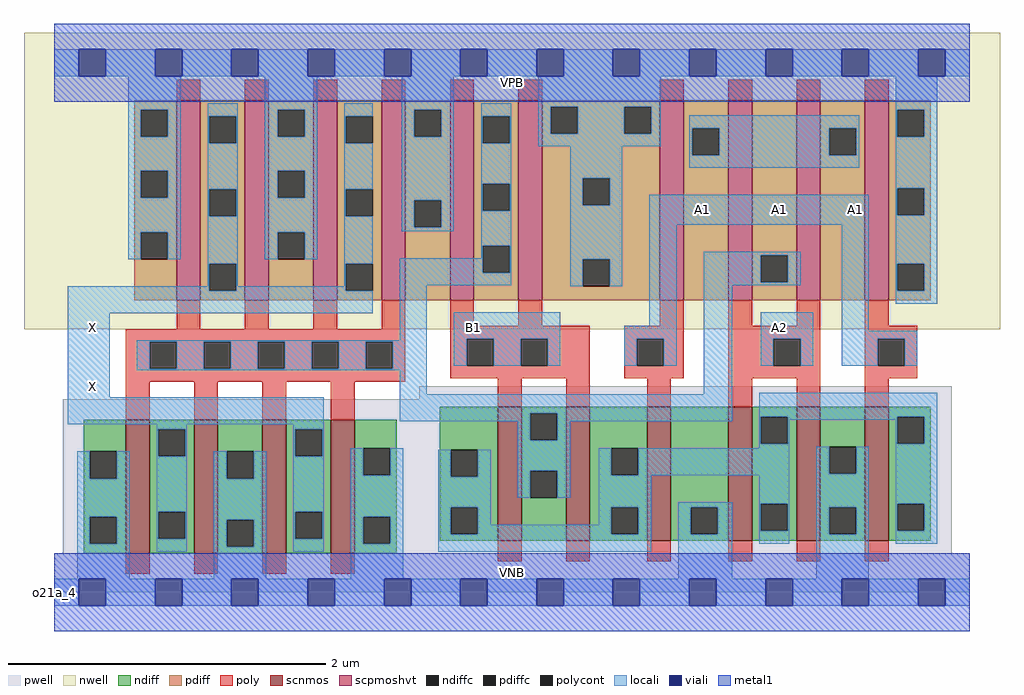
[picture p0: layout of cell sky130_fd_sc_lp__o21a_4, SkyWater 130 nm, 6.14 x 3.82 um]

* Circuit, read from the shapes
.subckt sky130_fd_sc_lp__o21a_4 A1 A2 B1 VGND VNB VPB VPWR X
XM1 X n1 VGND VNB sky130_fd_pr__nfet_01v8 w=0.84 l=0.15 m=4
XM2 n1 B1 n2 VNB sky130_fd_pr__nfet_01v8 w=0.84 l=0.15 m=2
XM3 VGND A1 n2 VNB sky130_fd_pr__nfet_01v8 w=0.84 l=0.15 m=2
XM4 n2 A2 VGND VNB sky130_fd_pr__nfet_01v8 w=0.84 l=0.15 m=2
XM5 X n1 VPWR VPB sky130_fd_pr__pfet_01v8_hvt w=1.26 l=0.15 m=4
XM6 n1 B1 VPWR VPB sky130_fd_pr__pfet_01v8_hvt w=1.26 l=0.15 m=2
XM7 n3 A1 VPWR VPB sky130_fd_pr__pfet_01v8_hvt w=1.26 l=0.15 m=2
XM8 n1 A2 n3 VPB sky130_fd_pr__pfet_01v8_hvt w=1.26 l=0.15 m=2
.ends

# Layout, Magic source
magic
tech sky130A
magscale 1 2
<< nwell >>
rect -38 331 1190 704
<< pwell >>
rect 459 243 1129 259
rect 11 49 1129 243
rect 0 0 1152 49
<< scnmos >>
rect 90 49 120 217
rect 176 49 206 217
rect 262 49 292 217
rect 348 49 378 217
rect 558 65 588 233
rect 644 65 674 233
rect 746 65 776 233
rect 848 65 878 233
rect 934 65 964 233
rect 1020 65 1050 233
<< scpmoshvt >>
rect 154 367 184 619
rect 240 367 270 619
rect 326 367 356 619
rect 412 367 442 619
rect 498 367 528 619
rect 584 367 614 619
rect 762 367 792 619
rect 848 367 878 619
rect 934 367 964 619
rect 1020 367 1050 619
<< ndiff >>
rect 37 177 90 217
rect 37 143 45 177
rect 79 143 90 177
rect 37 95 90 143
rect 37 61 45 95
rect 79 61 90 95
rect 37 49 90 61
rect 120 205 176 217
rect 120 171 131 205
rect 165 171 176 205
rect 120 101 176 171
rect 120 67 131 101
rect 165 67 176 101
rect 120 49 176 67
rect 206 177 262 217
rect 206 143 217 177
rect 251 143 262 177
rect 206 91 262 143
rect 206 57 217 91
rect 251 57 262 91
rect 206 49 262 57
rect 292 205 348 217
rect 292 171 303 205
rect 337 171 348 205
rect 292 101 348 171
rect 292 67 303 101
rect 337 67 348 101
rect 292 49 348 67
rect 378 181 431 217
rect 378 147 389 181
rect 423 147 431 181
rect 378 95 431 147
rect 378 61 389 95
rect 423 61 431 95
rect 485 179 558 233
rect 485 145 499 179
rect 533 145 558 179
rect 485 107 558 145
rect 485 73 499 107
rect 533 73 558 107
rect 485 65 558 73
rect 588 225 644 233
rect 588 191 599 225
rect 633 191 644 225
rect 588 153 644 191
rect 588 119 599 153
rect 633 119 644 153
rect 588 65 644 119
rect 674 181 746 233
rect 674 147 701 181
rect 735 147 746 181
rect 674 107 746 147
rect 674 73 701 107
rect 735 73 746 107
rect 674 65 746 73
rect 776 107 848 233
rect 776 73 801 107
rect 835 73 848 107
rect 776 65 848 73
rect 878 221 934 233
rect 878 187 889 221
rect 923 187 934 221
rect 878 111 934 187
rect 878 77 889 111
rect 923 77 934 111
rect 878 65 934 77
rect 964 183 1020 233
rect 964 149 975 183
rect 1009 149 1020 183
rect 964 107 1020 149
rect 964 73 975 107
rect 1009 73 1020 107
rect 964 65 1020 73
rect 1050 221 1103 233
rect 1050 187 1061 221
rect 1095 187 1103 221
rect 1050 111 1103 187
rect 1050 77 1061 111
rect 1095 77 1103 111
rect 1050 65 1103 77
rect 378 49 431 61
<< pdiff >>
rect 101 607 154 619
rect 101 573 109 607
rect 143 573 154 607
rect 101 530 154 573
rect 101 496 109 530
rect 143 496 154 530
rect 101 453 154 496
rect 101 419 109 453
rect 143 419 154 453
rect 101 367 154 419
rect 184 599 240 619
rect 184 565 195 599
rect 229 565 240 599
rect 184 507 240 565
rect 184 473 195 507
rect 229 473 240 507
rect 184 413 240 473
rect 184 379 195 413
rect 229 379 240 413
rect 184 367 240 379
rect 270 607 326 619
rect 270 573 281 607
rect 315 573 326 607
rect 270 530 326 573
rect 270 496 281 530
rect 315 496 326 530
rect 270 453 326 496
rect 270 419 281 453
rect 315 419 326 453
rect 270 367 326 419
rect 356 599 412 619
rect 356 565 367 599
rect 401 565 412 599
rect 356 507 412 565
rect 356 473 367 507
rect 401 473 412 507
rect 356 413 412 473
rect 356 379 367 413
rect 401 379 412 413
rect 356 367 412 379
rect 442 607 498 619
rect 442 573 453 607
rect 487 573 498 607
rect 442 493 498 573
rect 442 459 453 493
rect 487 459 498 493
rect 442 367 498 459
rect 528 599 584 619
rect 528 565 539 599
rect 573 565 584 599
rect 528 514 584 565
rect 528 480 539 514
rect 573 480 584 514
rect 528 436 584 480
rect 528 402 539 436
rect 573 402 584 436
rect 528 367 584 402
rect 614 611 762 619
rect 614 577 625 611
rect 659 577 717 611
rect 751 577 762 611
rect 614 521 762 577
rect 614 487 665 521
rect 699 487 762 521
rect 614 419 762 487
rect 614 385 665 419
rect 699 385 762 419
rect 614 367 762 385
rect 792 584 848 619
rect 792 550 803 584
rect 837 550 848 584
rect 792 367 848 550
rect 878 424 934 619
rect 878 390 889 424
rect 923 390 934 424
rect 878 367 934 390
rect 964 584 1020 619
rect 964 550 975 584
rect 1009 550 1020 584
rect 964 367 1020 550
rect 1050 607 1103 619
rect 1050 573 1061 607
rect 1095 573 1103 607
rect 1050 508 1103 573
rect 1050 474 1061 508
rect 1095 474 1103 508
rect 1050 413 1103 474
rect 1050 379 1061 413
rect 1095 379 1103 413
rect 1050 367 1103 379
<< ndiffc >>
rect 45 143 79 177
rect 45 61 79 95
rect 131 171 165 205
rect 131 67 165 101
rect 217 143 251 177
rect 217 57 251 91
rect 303 171 337 205
rect 303 67 337 101
rect 389 147 423 181
rect 389 61 423 95
rect 499 145 533 179
rect 499 73 533 107
rect 599 191 633 225
rect 599 119 633 153
rect 701 147 735 181
rect 701 73 735 107
rect 801 73 835 107
rect 889 187 923 221
rect 889 77 923 111
rect 975 149 1009 183
rect 975 73 1009 107
rect 1061 187 1095 221
rect 1061 77 1095 111
<< pdiffc >>
rect 109 573 143 607
rect 109 496 143 530
rect 109 419 143 453
rect 195 565 229 599
rect 195 473 229 507
rect 195 379 229 413
rect 281 573 315 607
rect 281 496 315 530
rect 281 419 315 453
rect 367 565 401 599
rect 367 473 401 507
rect 367 379 401 413
rect 453 573 487 607
rect 453 459 487 493
rect 539 565 573 599
rect 539 480 573 514
rect 539 402 573 436
rect 625 577 659 611
rect 717 577 751 611
rect 665 487 699 521
rect 665 385 699 419
rect 803 550 837 584
rect 889 390 923 424
rect 975 550 1009 584
rect 1061 573 1095 607
rect 1061 474 1095 508
rect 1061 379 1095 413
<< poly >>
rect 154 619 184 645
rect 240 619 270 645
rect 326 619 356 645
rect 412 619 442 645
rect 498 619 528 645
rect 584 619 614 645
rect 762 619 792 645
rect 848 619 878 645
rect 934 619 964 645
rect 1020 619 1050 645
rect 154 331 184 367
rect 240 331 270 367
rect 326 331 356 367
rect 412 331 442 367
rect 90 315 442 331
rect 90 281 120 315
rect 154 281 188 315
rect 222 281 256 315
rect 290 281 324 315
rect 358 281 392 315
rect 426 281 442 315
rect 90 265 442 281
rect 498 335 528 367
rect 584 335 614 367
rect 762 335 792 367
rect 498 319 674 335
rect 498 285 519 319
rect 553 285 587 319
rect 621 285 674 319
rect 498 269 674 285
rect 717 319 792 335
rect 717 285 733 319
rect 767 285 792 319
rect 717 269 792 285
rect 848 335 878 367
rect 934 335 964 367
rect 848 319 964 335
rect 848 285 905 319
rect 939 285 964 319
rect 848 269 964 285
rect 90 217 120 265
rect 176 217 206 265
rect 262 217 292 265
rect 348 217 378 265
rect 558 233 588 269
rect 644 233 674 269
rect 746 233 776 269
rect 848 233 878 269
rect 934 233 964 269
rect 1020 335 1050 367
rect 1020 319 1086 335
rect 1020 285 1036 319
rect 1070 285 1086 319
rect 1020 269 1086 285
rect 1020 233 1050 269
rect 90 23 120 49
rect 176 23 206 49
rect 262 23 292 49
rect 348 23 378 49
rect 558 39 588 65
rect 644 39 674 65
rect 746 39 776 65
rect 848 39 878 65
rect 934 39 964 65
rect 1020 39 1050 65
<< polycont >>
rect 120 281 154 315
rect 188 281 222 315
rect 256 281 290 315
rect 324 281 358 315
rect 392 281 426 315
rect 519 285 553 319
rect 587 285 621 319
rect 733 285 767 319
rect 905 285 939 319
rect 1036 285 1070 319
<< locali >>
rect 0 649 31 683
rect 65 649 127 683
rect 161 649 223 683
rect 257 649 319 683
rect 353 649 415 683
rect 449 649 511 683
rect 545 649 607 683
rect 641 649 703 683
rect 737 649 799 683
rect 833 649 895 683
rect 929 649 991 683
rect 1025 649 1087 683
rect 1121 649 1152 683
rect 93 607 159 649
rect 93 573 109 607
rect 143 573 159 607
rect 93 530 159 573
rect 93 496 109 530
rect 143 496 159 530
rect 93 453 159 496
rect 93 419 109 453
rect 143 419 159 453
rect 193 599 231 615
rect 193 565 195 599
rect 229 565 231 599
rect 193 507 231 565
rect 193 473 195 507
rect 229 473 231 507
rect 193 413 231 473
rect 265 607 331 649
rect 265 573 281 607
rect 315 573 331 607
rect 265 530 331 573
rect 265 496 281 530
rect 315 496 331 530
rect 265 453 331 496
rect 265 419 281 453
rect 315 419 331 453
rect 365 599 401 615
rect 365 565 367 599
rect 365 507 401 565
rect 365 473 367 507
rect 193 385 195 413
rect 17 379 195 385
rect 229 385 231 413
rect 365 413 401 473
rect 437 607 503 649
rect 437 573 453 607
rect 487 573 503 607
rect 437 493 503 573
rect 437 459 453 493
rect 487 459 503 493
rect 437 454 503 459
rect 537 599 575 615
rect 537 565 539 599
rect 573 565 575 599
rect 537 514 575 565
rect 609 611 763 649
rect 609 577 625 611
rect 659 577 717 611
rect 751 577 763 611
rect 1059 607 1111 649
rect 609 561 763 577
rect 799 584 1013 600
rect 537 480 539 514
rect 573 480 575 514
rect 537 436 575 480
rect 537 420 539 436
rect 365 385 367 413
rect 229 379 367 385
rect 17 351 401 379
rect 435 402 539 420
rect 573 402 575 436
rect 435 386 575 402
rect 649 521 715 561
rect 799 550 803 584
rect 837 550 975 584
rect 1009 550 1013 584
rect 799 534 1013 550
rect 1059 573 1061 607
rect 1095 573 1111 607
rect 649 487 665 521
rect 699 487 715 521
rect 1059 508 1111 573
rect 649 419 715 487
rect 17 245 70 351
rect 435 317 469 386
rect 649 385 665 419
rect 699 385 715 419
rect 749 462 1025 500
rect 104 315 469 317
rect 104 281 120 315
rect 154 281 188 315
rect 222 281 256 315
rect 290 281 324 315
rect 358 281 392 315
rect 426 281 469 315
rect 503 319 637 352
rect 749 335 783 462
rect 503 285 519 319
rect 553 285 587 319
rect 621 285 637 319
rect 717 319 783 335
rect 717 285 733 319
rect 767 285 783 319
rect 817 424 939 428
rect 817 390 889 424
rect 923 390 939 424
rect 817 386 939 390
rect 104 279 469 281
rect 435 249 469 279
rect 817 249 853 386
rect 889 319 955 352
rect 889 285 905 319
rect 939 285 955 319
rect 991 329 1025 462
rect 1059 474 1061 508
rect 1095 474 1111 508
rect 1059 413 1111 474
rect 1059 379 1061 413
rect 1095 379 1111 413
rect 1059 363 1111 379
rect 991 319 1086 329
rect 991 285 1036 319
rect 1070 285 1086 319
rect 17 211 339 245
rect 435 225 853 249
rect 435 215 599 225
rect 129 205 167 211
rect 29 143 45 177
rect 79 143 95 177
rect 29 95 95 143
rect 29 61 45 95
rect 79 61 95 95
rect 29 17 95 61
rect 129 171 131 205
rect 165 171 167 205
rect 301 205 339 211
rect 129 101 167 171
rect 129 67 131 101
rect 165 67 167 101
rect 129 51 167 67
rect 201 143 217 177
rect 251 143 267 177
rect 201 91 267 143
rect 201 57 217 91
rect 251 57 267 91
rect 201 17 267 57
rect 301 171 303 205
rect 337 171 339 205
rect 583 191 599 215
rect 633 215 853 225
rect 887 221 1111 251
rect 633 191 649 215
rect 301 101 339 171
rect 301 67 303 101
rect 337 67 339 101
rect 301 51 339 67
rect 373 147 389 181
rect 423 147 439 181
rect 373 95 439 147
rect 373 61 389 95
rect 423 61 439 95
rect 373 17 439 61
rect 483 145 499 179
rect 533 145 549 179
rect 483 107 549 145
rect 583 153 649 191
rect 887 187 889 221
rect 923 217 1061 221
rect 923 187 925 217
rect 887 181 925 187
rect 1059 187 1061 217
rect 1095 187 1111 221
rect 583 119 599 153
rect 633 119 649 153
rect 685 147 701 181
rect 735 147 925 181
rect 483 73 499 107
rect 533 85 549 107
rect 685 107 751 147
rect 685 85 701 107
rect 533 73 701 85
rect 735 73 751 107
rect 483 51 751 73
rect 785 107 853 113
rect 785 73 801 107
rect 835 73 853 107
rect 785 17 853 73
rect 887 111 925 147
rect 887 77 889 111
rect 923 77 925 111
rect 887 61 925 77
rect 959 149 975 183
rect 1009 149 1025 183
rect 959 107 1025 149
rect 959 73 975 107
rect 1009 73 1025 107
rect 959 17 1025 73
rect 1059 111 1111 187
rect 1059 77 1061 111
rect 1095 77 1111 111
rect 1059 61 1111 77
rect 0 -17 31 17
rect 65 -17 127 17
rect 161 -17 223 17
rect 257 -17 319 17
rect 353 -17 415 17
rect 449 -17 511 17
rect 545 -17 607 17
rect 641 -17 703 17
rect 737 -17 799 17
rect 833 -17 895 17
rect 929 -17 991 17
rect 1025 -17 1087 17
rect 1121 -17 1152 17
<< viali >>
rect 31 649 65 683
rect 127 649 161 683
rect 223 649 257 683
rect 319 649 353 683
rect 415 649 449 683
rect 511 649 545 683
rect 607 649 641 683
rect 703 649 737 683
rect 799 649 833 683
rect 895 649 929 683
rect 991 649 1025 683
rect 1087 649 1121 683
rect 31 -17 65 17
rect 127 -17 161 17
rect 223 -17 257 17
rect 319 -17 353 17
rect 415 -17 449 17
rect 511 -17 545 17
rect 607 -17 641 17
rect 703 -17 737 17
rect 799 -17 833 17
rect 895 -17 929 17
rect 991 -17 1025 17
rect 1087 -17 1121 17
<< metal1 >>
rect 0 683 1152 715
rect 0 649 31 683
rect 65 649 127 683
rect 161 649 223 683
rect 257 649 319 683
rect 353 649 415 683
rect 449 649 511 683
rect 545 649 607 683
rect 641 649 703 683
rect 737 649 799 683
rect 833 649 895 683
rect 929 649 991 683
rect 1025 649 1087 683
rect 1121 649 1152 683
rect 0 617 1152 649
rect 0 17 1152 49
rect 0 -17 31 17
rect 65 -17 127 17
rect 161 -17 223 17
rect 257 -17 319 17
rect 353 -17 415 17
rect 449 -17 511 17
rect 545 -17 607 17
rect 641 -17 703 17
rect 737 -17 799 17
rect 833 -17 895 17
rect 929 -17 991 17
rect 1025 -17 1087 17
rect 1121 -17 1152 17
rect 0 -49 1152 -17
<< labels >>
flabel pwell s 0 0 1152 49 0 FreeSans 200 0 0 0 VNB
port 5 nsew ground bidirectional
flabel nwell s 0 617 1152 666 0 FreeSans 200 0 0 0 VPB
port 6 nsew power bidirectional
rlabel comment s 0 0 0 0 4 o21a_4
flabel metal1 s 0 617 1152 666 0 FreeSans 340 0 0 0 VPWR
port 7 nsew power bidirectional
flabel metal1 s 0 0 1152 49 0 FreeSans 340 0 0 0 VGND
port 4 nsew ground bidirectional
flabel locali s 799 464 833 498 0 FreeSans 340 0 0 0 A1
port 1 nsew signal input
flabel locali s 895 464 929 498 0 FreeSans 340 0 0 0 A1
port 1 nsew signal input
flabel locali s 991 464 1025 498 0 FreeSans 340 0 0 0 A1
port 1 nsew signal input
flabel locali s 895 316 929 350 0 FreeSans 340 0 0 0 A2
port 2 nsew signal input
flabel locali s 511 316 545 350 0 FreeSans 340 0 0 0 B1
port 3 nsew signal input
flabel locali s 31 242 65 276 0 FreeSans 340 0 0 0 X
port 8 nsew signal output
flabel locali s 31 316 65 350 0 FreeSans 340 0 0 0 X
port 8 nsew signal output
<< properties >>
string LEFsite unit
string LEFclass CORE
string FIXED_BBOX 0 0 1152 666
string GDS_FILE $PDKPATH/libs.ref/sky130_fd_sc_lp/gds/sky130_fd_sc_lp.gds
string LEFsymmetry X Y R90
string GDS_END 818702
string GDS_START 808832
<< end >>
